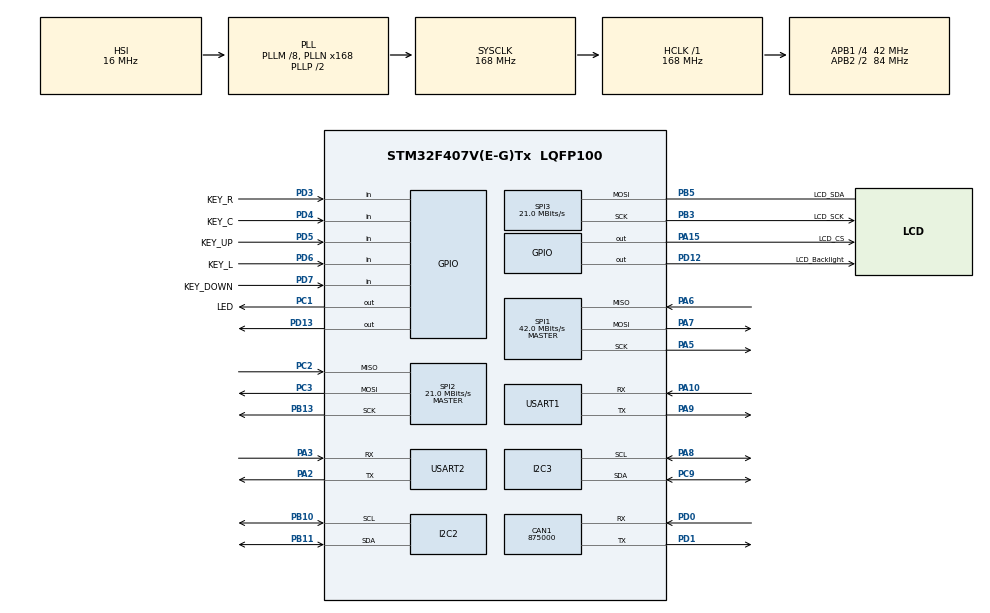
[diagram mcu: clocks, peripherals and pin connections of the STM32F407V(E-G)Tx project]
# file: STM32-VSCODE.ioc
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CAN1.BS1=CAN_BS1_1TQ
CAN1.BS2=CAN_BS2_1TQ
CAN1.CalculateBaudRate=875000
CAN1.CalculateTimeBit=1142
CAN1.CalculateTimeQuantum=380.95238095238096
Mcu.Family=STM32F4
Mcu.Name=STM32F407V(E-G)Tx
Mcu.Package=LQFP100
NVIC.PriorityGroup=NVIC_PRIORITYGROUP_4
NVIC.TIM3_IRQn=true\:0\:0\:false\:false\:true\:true\:true\:true
NVIC.USART1_IRQn=true\:0\:0\:false\:false\:true\:true\:true\:true
PA0-WKUP.Mode=SYS_WakeUp0
PA0-WKUP.Signal=SYS_WKUP
PA10.Mode=Asynchronous
PA10.Signal=USART1_RX
PA13.Mode=Serial_Wire
PA13.Signal=SYS_JTMS-SWDIO
PA14.Mode=Serial_Wire
PA14.Signal=SYS_JTCK-SWCLK
PA15.GPIO_Label=LCD_CS
PA15.GPIO_Speed=GPIO_SPEED_FREQ_HIGH
PA15.Signal=GPIO_Output
PA2.Mode=Asynchronous
PA2.Signal=USART2_TX
PA3.Mode=Asynchronous
PA3.Signal=USART2_RX
PA5.Mode=Full_Duplex_Master
PA5.Signal=SPI1_SCK
PA6.Mode=Full_Duplex_Master
PA6.Signal=SPI1_MISO
PA7.Mode=Full_Duplex_Master
PA7.Signal=SPI1_MOSI
PA8.Mode=I2C
PA8.Signal=I2C3_SCL
PA9.Mode=Asynchronous
PA9.Signal=USART1_TX
PB10.Mode=I2C
PB10.Signal=I2C2_SCL
PB11.Mode=I2C
PB11.Signal=I2C2_SDA
PB13.Mode=Full_Duplex_Master
PB13.Signal=SPI2_SCK
PB3.GPIO_Label=LCD_SCK
PB3.Mode=Simplex_Bidirectional_Master
PB3.Signal=SPI3_SCK
PB5.GPIO_Label=LCD_SDA
PB5.Mode=Simplex_Bidirectional_Master
PB5.Signal=SPI3_MOSI
PC1.GPIO_Label=LED
PC1.Signal=GPIO_Output
PC14-OSC32_IN.Mode=LSE-External-Oscillator
PC14-OSC32_IN.Signal=RCC_OSC32_IN
PC15-OSC32_OUT.Mode=LSE-External-Oscillator
PC15-OSC32_OUT.Signal=RCC_OSC32_OUT
PC2.Mode=Full_Duplex_Master
PC2.Signal=SPI2_MISO
PC3.Mode=Full_Duplex_Master
PC3.Signal=SPI2_MOSI
PC9.Mode=I2C
PC9.Signal=I2C3_SDA
PD0.Mode=CAN_Activate
PD0.Signal=CAN1_RX
PD1.Mode=CAN_Activate
PD1.Signal=CAN1_TX
PD12.GPIO_Label=LCD_Backlight
PD12.Signal=GPIO_Output
PD13.Signal=GPIO_Output
PD3.GPIO_Label=KEY_R
PD3.GPIO_PuPd=GPIO_PULLUP
PD3.Signal=GPIO_Input
PD4.GPIO_Label=KEY_C
PD4.GPIO_PuPd=GPIO_PULLUP
PD4.Signal=GPIO_Input
PD5.GPIO_Label=KEY_UP
PD5.GPIO_PuPd=GPIO_PULLUP
PD5.Signal=GPIO_Input
PD6.GPIO_Label=KEY_L
PD6.GPIO_PuPd=GPIO_PULLUP
PD6.Signal=GPIO_Input
PD7.GPIO_Label=KEY_DOWN
PD7.GPIO_PuPd=GPIO_PULLUP
PD7.Signal=GPIO_Input
PH0-OSC_IN.Mode=HSE-External-Oscillator
PH0-OSC_IN.Signal=RCC_OSC_IN
PH1-OSC_OUT.Mode=HSE-External-Oscillator
PH1-OSC_OUT.Signal=RCC_OSC_OUT
ProjectManager.HeapSize=0x200
ProjectManager.StackSize=0x400
ProjectManager.TargetToolchain=CMake
RCC.48MHZClocksFreq_Value=84000000
RCC.AHBFreq_Value=168000000
RCC.APB1CLKDivider=RCC_HCLK_DIV4
RCC.APB1Freq_Value=42000000
RCC.APB1TimFreq_Value=84000000
RCC.APB2CLKDivider=RCC_HCLK_DIV2
RCC.APB2Freq_Value=84000000
RCC.APB2TimFreq_Value=168000000
RCC.CortexFreq_Value=168000000
RCC.HCLKFreq_Value=168000000
RCC.HSE_VALUE=8000000
RCC.HSI_VALUE=16000000
RCC.PLLM=8
RCC.PLLN=168
RCC.SYSCLKFreq_VALUE=168000000
RCC.SYSCLKSource=RCC_SYSCLKSOURCE_PLLCLK
RCC.VCOOutputFreq_Value=336000000
SPI1.BaudRatePrescaler=SPI_BAUDRATEPRESCALER_2
SPI1.CalculateBaudRate=42.0 MBits/s
SPI1.Direction=SPI_DIRECTION_2LINES
SPI1.Mode=SPI_MODE_MASTER
SPI1.VirtualType=VM_MASTER
SPI2.BaudRatePrescaler=SPI_BAUDRATEPRESCALER_2
SPI2.CalculateBaudRate=21.0 MBits/s
SPI2.Direction=SPI_DIRECTION_2LINES
SPI2.Mode=SPI_MODE_MASTER
SPI2.VirtualType=VM_MASTER
SPI3.BaudRatePrescaler=SPI_BAUDRATEPRESCALER_2
SPI3.CalculateBaudRate=21.0 MBits/s
SPI3.Direction=SPI_DIRECTION_1LINE
SPI3.Mode=SPI_MODE_MASTER
SPI3.VirtualType=VM_MASTER
TIM3.AutoReloadPreload=TIM_AUTORELOAD_PRELOAD_ENABLE
TIM3.Period=100-1
TIM3.Prescaler=8400-1
USART1.VirtualMode=VM_ASYNC
USART2.VirtualMode=VM_ASYNC
VP_TIM3_VS_ClockSourceINT.Mode=Internal
board=custom

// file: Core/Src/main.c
/* USER CODE BEGIN Header */
/**
 ******************************************************************************
 * @file           : main.c
 * @brief          : Main program body
 ******************************************************************************
 * @attention
 *
 * Copyright (c) 2025 STMicroelectronics.
 * All rights reserved.
 *
 * This software is licensed under terms that can be found in the LICENSE file
 * in the root directory of this software component.
 * If no LICENSE file comes with this software, it is provided AS-IS.
 *
 ******************************************************************************
 */
/* USER CODE END Header */
#include "main.h"
#include "can.h"
#include "i2c.h"
#include "spi.h"
#include "tim.h"
#include "usart.h"
#include "gpio.h"

/* USER CODE BEGIN Includes */
#include "app_lcd.h"
#include "stm32f4xx_hal.h"
#include "app_lcd.h"
#include "stm32f4xx_hal.h"

// printf重定向位串口格式化输出代码
// 重定向printf
#include <stdio.h>
#include <string.h>
#ifdef __GNUC__
#define PUTCHAR_PROTOTYPE int __io_putchar(int ch)
#else
#define PUTCHAR_PROTOTYPE int fputc(int ch, FILE *f)
#endif

PUTCHAR_PROTOTYPE
{
    HAL_UART_Transmit(&huart1, (uint8_t *)&ch, 1, HAL_MAX_DELAY);
    return ch;
}
/* USER CODE END Includes */

void SystemClock_Config(void);

/* USER CODE BEGIN 0 */
int bmi088_flag = 0;
/* USER CODE END 0 */

int main(void)
{

  /* MCU Configuration--------------------------------------------------------*/

  /* Reset of all peripherals, Initializes the Flash interface and the Systick. */
  HAL_Init();

  /* Configure the system clock */
  SystemClock_Config();

  /* Initialize all configured peripherals */
  MX_GPIO_Init();
  MX_SPI1_Init();
  MX_SPI3_Init();
  MX_USART1_UART_Init();
  MX_CAN1_Init();
  MX_I2C2_Init();
  MX_I2C3_Init();
  MX_SPI2_Init();
  MX_USART2_UART_Init();
  MX_TIM3_Init();
  /* USER CODE BEGIN 2 */

  //BSP_LCD_InitDefault(&hspi3); // 根据实际硬件连接选择SPI1或SPI3
  APP_LCD_Test();
  HAL_Delay(1000);
  HAL_TIM_Base_Start_IT(&htim3);
  /* USER CODE END 2 */

  /* Infinite loop */
  /* USER CODE BEGIN WHILE */

  while (1) {

    // HAL_GPIO_TogglePin(GPIOC,GPIO_PIN_1);
    // HAL_Delay(500);
    if(1 == bmi088_flag)
    {
      app_lcd_bmi088_test();

    }
    /* USER CODE END WHILE */

  }
}

void SystemClock_Config(void)
{
  RCC_OscInitTypeDef RCC_OscInitStruct = {0};
  RCC_ClkInitTypeDef RCC_ClkInitStruct = {0};

  /** Configure the main internal regulator output voltage
  */
  __HAL_RCC_PWR_CLK_ENABLE();
  __HAL_PWR_VOLTAGESCALING_CONFIG(PWR_REGULATOR_VOLTAGE_SCALE1);

  /** Initializes the RCC Oscillators according to the specified parameters
  * in the RCC_OscInitTypeDef structure.
  */
  RCC_OscInitStruct.OscillatorType = RCC_OSCILLATORTYPE_HSI;
  RCC_OscInitStruct.HSIState = RCC_HSI_ON;
  RCC_OscInitStruct.HSICalibrationValue = RCC_HSICALIBRATION_DEFAULT;
  RCC_OscInitStruct.PLL.PLLState = RCC_PLL_ON;
  RCC_OscInitStruct.PLL.PLLSource = RCC_PLLSOURCE_HSI;
  RCC_OscInitStruct.PLL.PLLM = 8;
  RCC_OscInitStruct.PLL.PLLN = 168;
  RCC_OscInitStruct.PLL.PLLP = RCC_PLLP_DIV2;
  RCC_OscInitStruct.PLL.PLLQ = 4;
  if (HAL_RCC_OscConfig(&RCC_OscInitStruct) != HAL_OK)
  {
    Error_Handler();
  }

  /** Initializes the CPU, AHB and APB buses clocks
  */
  RCC_ClkInitStruct.ClockType = RCC_CLOCKTYPE_HCLK|RCC_CLOCKTYPE_SYSCLK
                              |RCC_CLOCKTYPE_PCLK1|RCC_CLOCKTYPE_PCLK2;
  RCC_ClkInitStruct.SYSCLKSource = RCC_SYSCLKSOURCE_PLLCLK;
  RCC_ClkInitStruct.AHBCLKDivider = RCC_SYSCLK_DIV1;
  RCC_ClkInitStruct.APB1CLKDivider = RCC_HCLK_DIV4;
  RCC_ClkInitStruct.APB2CLKDivider = RCC_HCLK_DIV2;

  if (HAL_RCC_ClockConfig(&RCC_ClkInitStruct, FLASH_LATENCY_5) != HAL_OK)
  {
    Error_Handler();
  }
}

/* USER CODE BEGIN 4 */
int count = 0;
void HAL_TIM_PeriodElapsedCallback(TIM_HandleTypeDef *htim)
{
    if(htim->Instance == TIM3)
    {
      count++;
      if(count >= 100)
      {
        //HAL_GPIO_TogglePin(LED_GPIO_Port, LED_Pin);
        count = 0;
      }
      if((count % 2) == 0)
      {
        bmi088_flag = 1;
      }
      if(1 == HAL_GPIO_ReadPin(GPIOD, KEY_C_Pin) && (gpio_flag == 0))
      {
        gpio_flag = 1;
      }

      if((0 == HAL_GPIO_ReadPin(GPIOD, KEY_C_Pin)) && (gpio_flag == 1))
      {
        HAL_GPIO_TogglePin(LED_GPIO_Port, LED_Pin);
        gpio_flag = 0;
      }

    }
}
/* USER CODE END 4 */

void Error_Handler(void)
{
  /* USER CODE BEGIN Error_Handler_Debug */
  /* User can add his own implementation to report the HAL error return state */
  __disable_irq();
  while (1) {
    HAL_GPIO_TogglePin(GPIOC,GPIO_PIN_1);

  }
  /* USER CODE END Error_Handler_Debug */
}
#ifdef USE_FULL_ASSERT
/**
  * @brief  Reports the name of the source file and the source line number
  *         where the assert_param error has occurred.
  * @param  file: pointer to the source file name
  * @param  line: assert_param error line source number
  * @retval None
  */
void assert_failed(uint8_t *file, uint32_t line)
{
  /* USER CODE BEGIN 6 */
  /* User can add his own implementation to report the file name and line
     number, ex: printf("Wrong parameters value: file %s on line %d\r\n", file,
     line) */
  /* USER CODE END 6 */
}
#endif /* USE_FULL_ASSERT */
